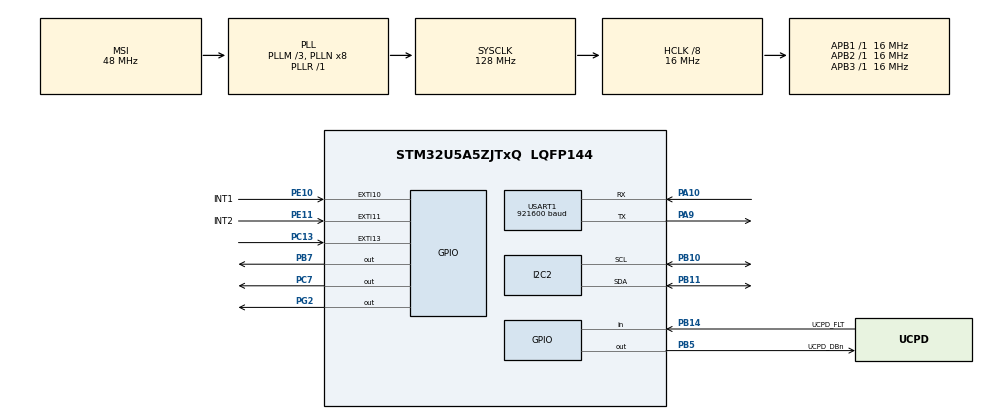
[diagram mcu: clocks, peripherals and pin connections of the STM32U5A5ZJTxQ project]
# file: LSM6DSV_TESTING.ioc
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CORTEX_M33_NS.userName=CORTEX_M33
GPDMA1.CIRCULARMODE_GPDMACH0=ENABLE
GPDMA1.DESTINC_GPDMACH0=DMA_DINC_INCREMENTED
GPDMA1.IPHANDLE_GPDMACH0-SIMPLEREQUEST_GPDMACH0=__NULL
GPDMA1.PRIORITY_LL_CIRCULAR_GPDMACH0=DMA_LOW_PRIORITY_MID_WEIGHT
GPDMA1.REQUEST_GPDMACH0=GPDMA1_REQUEST_USART1_RX
I2C2.Timing=0x00303D5B
Mcu.Family=STM32U5
Mcu.Name=STM32U5A5ZJTxQ
Mcu.Package=LQFP144
NUCLEO-U5A5ZJ-Q.BUTTON=1
NUCLEO-U5A5ZJ-Q.LD1=true
NUCLEO-U5A5ZJ-Q.LD2=true
NUCLEO-U5A5ZJ-Q.LD3=true
NUCLEO-U5A5ZJ-Q.VCP=false
NVIC.EXTI10_IRQn=true\:0\:0\:false\:false\:true\:true\:true\:true
NVIC.EXTI11_IRQn=true\:0\:0\:false\:false\:true\:true\:true\:true
NVIC.EXTI13_IRQn=true\:0\:0\:false\:false\:true\:false\:true\:true
NVIC.GPDMA1_Channel0_IRQn=true\:0\:0\:false\:false\:true\:true\:true\:true
NVIC.PriorityGroup=NVIC_PRIORITYGROUP_4
NVIC.TIM2_IRQn=true\:0\:0\:false\:false\:true\:true\:true\:true
NVIC.USART1_IRQn=true\:0\:0\:false\:false\:true\:true\:true\:true
PA10.Mode=Asynchronous
PA10.Signal=USART1_RX
PA11.Signal=USB_OTG_HS_DM
PA12.Signal=USB_OTG_HS_DP
PA13\ (JTMS/SWDIO).Mode=Trace_Asynchronous_SW
PA13\ (JTMS/SWDIO).Signal=DEBUG_JTMS-SWDIO
PA14\ (JTCK/SWCLK).Mode=Trace_Asynchronous_SW
PA14\ (JTCK/SWCLK).Signal=DEBUG_JTCK-SWCLK
PA15\ (JTDI).Signal=UCPD1_CC1
PA9.Mode=Asynchronous
PA9.Signal=USART1_TX
PB10.Mode=I2C
PB10.Signal=I2C2_SCL
PB11.Mode=I2C
PB11.Signal=I2C2_SDA
PB14.GPIO_Label=UCPD_FLT
PB14.Signal=GPIO_Input
PB15.Signal=UCPD1_CC2
PB3\ (JTDO/TRACESWO).Mode=Trace_Asynchronous_SW
PB3\ (JTDO/TRACESWO).Signal=DEBUG_JTDO-SWO
PB5.GPIO_Label=UCPD_DBn
PB5.Signal=GPIO_Output
PB7.Signal=GPIO_Output
PC13.Signal=GPXTI13
PC14-OSC32_IN\ (PC14).Mode=LSE-External-Oscillator
PC14-OSC32_IN\ (PC14).Signal=RCC_OSC32_IN
PC15-OSC32_OUT\ (PC15).Mode=LSE-External-Oscillator
PC15-OSC32_OUT\ (PC15).Signal=RCC_OSC32_OUT
PC2.GPIO_Label=VBUS_SENSE
PC2.Signal=ADC1_IN3
PC7.Signal=GPIO_Output
PE10.GPIO_Label=INT1
PE10.Signal=GPXTI10
PE11.GPIO_Label=INT2
PE11.Signal=GPXTI11
PG2.Signal=GPIO_Output
PWR.PowerMode=PWR_SMPS_SUPPLY
ProjectManager.HeapSize=0x200
ProjectManager.StackSize=0x400
ProjectManager.TargetToolchain=CMake
RCC.ADCFreq_Value=16000000
RCC.AHBCLKDivider=RCC_SYSCLK_DIV8
RCC.AHBFreq_Value=16000000
RCC.APB1Freq_Value=16000000
RCC.APB1TimFreq_Value=16000000
RCC.APB2Freq_Value=16000000
RCC.APB2TimFreq_Value=16000000
RCC.APB3Freq_Value=16000000
RCC.CortexFreq_Value=16000000
RCC.DACCLockSelectionVirtual=RCC_DAC1CLKSOURCE_LSI
RCC.EPOD_VALUE=48000000
RCC.HCLKFreq_Value=16000000
RCC.HSE_VALUE=8000000
RCC.HSI48_VALUE=48000000
RCC.HSI_VALUE=16000000
RCC.LSIDIV_VALUE=32000
RCC.MSIClockRange=RCC_MSIRANGE_0
RCC.MSI_VALUE=48000000
RCC.PLL1P=8
RCC.PLL1R=1
RCC.PLL2FRACN=0
RCC.PLL3FRACN=0
RCC.PLLFRACN=0
RCC.PLLM=3
RCC.PLLN=8
RCC.SYSCLKFreq_VALUE=128000000
RCC.SYSCLKSource=RCC_SYSCLKSOURCE_PLLCLK
RCC.VCOOutputFreq_Value=128000000
TIM2.AutoReloadPreload=TIM_AUTORELOAD_PRELOAD_ENABLE
TIM2.Period=0xFFFFFFFF
TIM2.Prescaler=16-1
USART1.BaudRate=921600
USART1.DMA_RX=GPDMA1_CH0
USART1.VirtualMode-Asynchronous=VM_ASYNC
VP_GPDMA1_VS_GPDMACH0.Mode=SIMPLEREQUEST_GPDMACH0
VP_ICACHE_VS_ICACHE.Mode=DirectMappedCache
VP_LPBAMQUEUE_VS_QUEUE.Mode=QUEUEMODE
VP_MEMORYMAP_VS_MEMORYMAP.Mode=CurAppReg
VP_NUCLEO-U5A5ZJ-Q_VS_BSP_COMMON.Mode=COMMON
VP_PWR_VS_DBSignals.Mode=DisableDeadBatterySignals
VP_PWR_VS_LPOM.Mode=PowerOptimisation
VP_PWR_VS_SECSignals.Mode=Security/Privilege
VP_TIM2_VS_ClockSourceINT.Mode=Internal
board=NUCLEO-U5A5ZJ-Q

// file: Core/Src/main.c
/* USER CODE BEGIN Header */
/**
  ******************************************************************************
  * @file           : main.c
  * @brief          : Main program body
  ******************************************************************************
  * @attention
  *
  * Copyright (c) 2025 STMicroelectronics.
  * All rights reserved.
  *
  * This software is licensed under terms that can be found in the LICENSE file
  * in the root directory of this software component.
  * If no LICENSE file comes with this software, it is provided AS-IS.
  *
  ******************************************************************************
  */
/* USER CODE END Header */
#include "main.h"

/* USER CODE BEGIN Includes */
#include <string.h>
#include <stdio.h>
#include "sensor_manager.h"
#include "comm_protocol.h"
#include "data_formatter.h"
/* USER CODE END Includes */

/* USER CODE BEGIN PD */

/* LSM6DSV I2C Addresses (7-bit, unshifted) */
#define LSM6DSV_I2C_ADDR_LOW  0x6A  // SDO/SA0 pin low (default)
#define LSM6DSV_I2C_ADDR_HIGH 0x6B  // SDO/SA0 pin high

/* Default I2C address - can be changed via command */
#define LSM6DSV_I2C_ADDR_DEFAULT  LSM6DSV_I2C_ADDR_HIGH

/* UART TX Buffer Size */
#define UART_TX_BUFFER_SIZE 256

/* USER CODE END PD */

I2C_HandleTypeDef hi2c2;

TIM_HandleTypeDef htim2;

UART_HandleTypeDef huart1;
DMA_NodeTypeDef Node_GPDMA1_Channel0;
DMA_QListTypeDef List_GPDMA1_Channel0;
DMA_HandleTypeDef handle_GPDMA1_Channel0;

/* USER CODE BEGIN PV */

/* Sensor Status */
static uint8_t sensor_initialized = 0;
static uint8_t streaming_enabled = 0;
static uint8_t current_i2c_address = LSM6DSV_I2C_ADDR_DEFAULT;

/* UART RX Circular Buffer for DMA */
#define UART_RX_BUFFER_SIZE 256
uint8_t uart_rx_buffer[UART_RX_BUFFER_SIZE];
volatile uint16_t uart_rx_write_pos = 0;  // DMA write position (updated by interrupt)
volatile uint16_t uart_rx_read_pos = 0;   // Our read position (updated by main loop)

/* New layer instances */
static sensor_manager_t sensor_mgr;
comm_protocol_t comm_ctx;

/* Cache for last valid sensor data (prevents zero readings when ODRs differ) */
static sensor_data_t last_valid_data = {0};
static bool first_valid_gyro = false;  // Track if we've received at least one valid gyro sample

/* USER CODE END PV */

void SystemClock_Config(void);
static void SystemPower_Config(void);
static void MX_GPDMA1_Init(void);
static void MX_GPIO_Init(void);
static void MX_TIM2_Init(void);
static void MX_USART1_UART_Init(void);
static void MX_ICACHE_Init(void);
static void MX_I2C2_Init(void);

int main(void)
{

  /* MCU Configuration--------------------------------------------------------*/

  /* Reset of all peripherals, Initializes the Flash interface and the Systick. */
  HAL_Init();

  /* Configure the System Power */
  SystemPower_Config();

  /* Configure the system clock */
  SystemClock_Config();

  /* Initialize all configured peripherals */
  MX_GPDMA1_Init();
  MX_GPIO_Init();
  MX_TIM2_Init();
  MX_USART1_UART_Init();
  MX_ICACHE_Init();
  MX_I2C2_Init();
  /* USER CODE BEGIN 2 */

  /* Start TIM2 for microsecond timestamps */
  HAL_TIM_Base_Start(&htim2);

  /* Initialize LEDs */
  BSP_LED_Init(LED_GREEN);
  BSP_LED_Init(LED_BLUE);
  BSP_LED_Init(LED_RED);

  /* Initialize USER push-button, will be used to trigger an interrupt each time it's pressed.*/
  BSP_PB_Init(BUTTON_USER, BUTTON_MODE_EXTI);

  /* Send startup banner to confirm UART is working */
  const char* banner = "\r\n=== LSM6DSV Firmware v2.0 ===\r\n"
                       "UART: OK (921600 baud)\r\n"
                       "Initializing sensor...\r\n";
  HAL_UART_Transmit(&huart1, (uint8_t*)banner, strlen(banner), 1000);

  /* Wait for sensor power-up */
  HAL_Delay(100);

  /* Scan I2C bus to see what devices are present */
  char scan_msg[128];
  int scan_len = snprintf(scan_msg, sizeof(scan_msg), "I2C Bus Scan:\r\n");
  HAL_UART_Transmit(&huart1, (uint8_t*)scan_msg, scan_len, 1000);

  for (uint8_t addr = 1; addr < 128; addr++) {
      if (HAL_I2C_IsDeviceReady(&hi2c2, addr << 1, 1, 10) == HAL_OK) {
          scan_len = snprintf(scan_msg, sizeof(scan_msg), "  Found device at 0x%02X\r\n", addr);
          HAL_UART_Transmit(&huart1, (uint8_t*)scan_msg, scan_len, 1000);
      }
  }
  HAL_UART_Transmit(&huart1, (uint8_t*)"I2C scan complete.\r\n\r\n", 21, 1000);

  /* Try both I2C addresses */
  uint8_t addresses[] = {LSM6DSV_I2C_ADDR_LOW, LSM6DSV_I2C_ADDR_HIGH};
  for (int i = 0; i < 2; i++) {
      current_i2c_address = addresses[i];

      /* Report which address we're trying */
      char probe_msg[128];
      int msg_len = snprintf(probe_msg, sizeof(probe_msg),
                             "Probing LSM6DSV at I2C address 0x%02X...\r\n",
                             current_i2c_address);
      HAL_UART_Transmit(&huart1, (uint8_t*)probe_msg, msg_len, 1000);

      /* Debug: Read WHO_AM_I register directly to see what's there */
      uint8_t whoami_test = 0;
      HAL_StatusTypeDef whoami_status;
      char whoami_msg[256];

      whoami_status = HAL_I2C_Mem_Read(&hi2c2, current_i2c_address << 1, 0x0F,
                                        I2C_MEMADD_SIZE_8BIT, &whoami_test, 1, 1000);

      uint32_t i2c_error = HAL_I2C_GetError(&hi2c2);
      int whoami_len = snprintf(whoami_msg, sizeof(whoami_msg),
                                "  WHO_AM_I(0x0F): HAL_status=%d, I2C_ErrorCode=0x%04lX, value=0x%02X\r\n"
                                "    (expect status=0, value=0x70 for LSM6DSV)\r\n",
                                whoami_status, i2c_error, whoami_test);
      HAL_UART_Transmit(&huart1, (uint8_t*)whoami_msg, whoami_len, 1000);

      /* Decode I2C error codes */
      if (i2c_error != HAL_I2C_ERROR_NONE) {
          char error_detail[256];
          int error_len = snprintf(error_detail, sizeof(error_detail),
                                    "    I2C Errors:%s%s%s%s%s\r\n",
                                    (i2c_error & HAL_I2C_ERROR_BERR) ? " BERR" : "",
                                    (i2c_error & HAL_I2C_ERROR_ARLO) ? " ARLO" : "",
                                    (i2c_error & HAL_I2C_ERROR_AF) ? " AF(NACK)" : "",
                                    (i2c_error & HAL_I2C_ERROR_OVR) ? " OVR" : "",
                                    (i2c_error & HAL_I2C_ERROR_TIMEOUT) ? " TIMEOUT" : "");
          HAL_UART_Transmit(&huart1, (uint8_t*)error_detail, error_len, 1000);
      }

      if (sensor_manager_init(&sensor_mgr, &hi2c2, current_i2c_address) == 0) {
          /* Success! */
          msg_len = snprintf(probe_msg, sizeof(probe_msg),
                            "  Result: SUCCESS - Sensor initialized\r\n"
                            "Starting data streaming...\r\n\r\n");
          HAL_UART_Transmit(&huart1, (uint8_t*)probe_msg, msg_len, 1000);

          BSP_LED_On(LED_GREEN);
          sensor_initialized = 1;
          streaming_enabled = 1;

          /* Initialize comm_protocol */
          comm_protocol_init(&comm_ctx, &huart1, &sensor_mgr);
          break;
      } else {
          /* Failed */
          HAL_UART_Transmit(&huart1, (uint8_t*)"  Result: FAILED - Init failed\r\n\r\n", 35, 1000);
      }
  }

  if (!sensor_initialized) {
      /* Send detailed error message */
      const char* error_msg = "\r\n*** ERROR: LSM6DSV sensor not found! ***\r\n"
                              "Possible causes:\r\n"
                              "  1. Sensor not connected to I2C2 (PB10=SCL, PB11=SDA)\r\n"
                              "  2. Wrong I2C address (check SDO/SA0 pin)\r\n"
                              "  3. Missing I2C pull-up resistors\r\n"
                              "  4. Sensor not powered (check VDD)\r\n"
                              "  5. I2C wiring issue\r\n\r\n"
                              "Expected addresses: 0x6A (SDO=GND) or 0x6B (SDO=VDD)\r\n"
                              "Check I2C scan results above.\r\n\r\n";
      HAL_UART_Transmit(&huart1, (uint8_t*)error_msg, strlen(error_msg), 1000);

      BSP_LED_On(LED_RED);
      streaming_enabled = 0;
  }

  /* Start UART RX via DMA with large circular buffer */
  HAL_UART_Receive_DMA(&huart1, uart_rx_buffer, UART_RX_BUFFER_SIZE);

  /* Enable UART IDLE line detection to update DMA write position */
  __HAL_UART_ENABLE_IT(&huart1, UART_IT_IDLE);

  /* USER CODE END 2 */

  /* Initialize leds */
  BSP_LED_Init(LED_GREEN);
  BSP_LED_Init(LED_BLUE);
  BSP_LED_Init(LED_RED);

  /* Initialize USER push-button, will be used to trigger an interrupt each time it's pressed.*/
  BSP_PB_Init(BUTTON_USER, BUTTON_MODE_EXTI);

  /* Infinite loop */
  /* USER CODE BEGIN WHILE */
  while (1)
  {
    /* Process UART RX circular buffer - feed bytes to protocol parser */
    while (uart_rx_read_pos != uart_rx_write_pos) {
        uint8_t byte = uart_rx_buffer[uart_rx_read_pos];
        uart_rx_read_pos = (uart_rx_read_pos + 1) % UART_RX_BUFFER_SIZE;

        /* Feed byte to protocol parser */
        comm_protocol_rx_callback(&comm_ctx, byte);
    }

    /* Process any complete commands */
    comm_protocol_process(&comm_ctx);

    /* Debug: Report command counter when it changes */
    static uint32_t last_cmd_count = 0;
    if (comm_ctx.commands_received != last_cmd_count) {
        last_cmd_count = comm_ctx.commands_received;
        char debug[64];
        int debug_len = snprintf(debug, sizeof(debug), "DEBUG: CMD_COUNT=%lu\r\n", comm_ctx.commands_received);
        HAL_UART_Transmit(&huart1, (uint8_t*)debug, debug_len, 10);
    }

    /* Stream sensor data if enabled */
    if (sensor_initialized && streaming_enabled) {
        sensor_data_t data;

        /* Read sensor data (v3.1: always succeeds, check validity flags) */
        sensor_manager_read_data(&sensor_mgr, &data);

        /* Update cache when sensors have new valid data (v3.2: prevents zero gyro readings)
         * Strategy: Cache last valid readings from both sensors, only transmit when
         * we have complete data. This handles different ODR configurations correctly.
         * Example: If accel=240Hz and gyro=120Hz, gyro data repeats until next update. */

        /* Update accelerometer cache */
        if (data.acc_valid == SENSOR_STATUS_VALID) {
            last_valid_data.acc_x = data.acc_x;
            last_valid_data.acc_y = data.acc_y;
            last_valid_data.acc_z = data.acc_z;
            last_valid_data.acc_valid = SENSOR_STATUS_VALID;
            last_valid_data.timestamp = data.timestamp;  // Use latest timestamp
        }

        /* Update gyroscope cache */
        if (data.gyro_valid == SENSOR_STATUS_VALID) {
            last_valid_data.gyro_x = data.gyro_x;
            last_valid_data.gyro_y = data.gyro_y;
            last_valid_data.gyro_z = data.gyro_z;
            last_valid_data.gyro_valid = SENSOR_STATUS_VALID;
            first_valid_gyro = true;  // Mark that we've seen at least one valid gyro sample
        }

        /* Transmit only if both sensors have valid data in cache
         * - Requires both sensors to have been valid at least once
         * - Prevents zero gyro readings when accel ODR > gyro ODR
         * - Gyro data repeats at accel rate until next gyro update (standard decimation) */
        bool has_complete_data = first_valid_gyro &&
                                 (last_valid_data.acc_valid == SENSOR_STATUS_VALID) &&
                                 (last_valid_data.gyro_valid == SENSOR_STATUS_VALID);

        if (has_complete_data) {
            /* Format as CSV using cached complete data */
            char buffer[256];
            int len = data_formatter_csv_data(buffer, sizeof(buffer), &last_valid_data, NULL, NULL);

            if (len > 0) {
                HAL_UART_Transmit(&huart1, (uint8_t*)buffer, len, 10);
            }

            /* Read SFLP if enabled */
            if (sensor_mgr.config.sflp_game_en) {
                sflp_data_t sflp;
                if (sensor_manager_read_sflp(&sensor_mgr, &sflp) == 0) {
                    len = data_formatter_csv_sflp(buffer, sizeof(buffer), &sflp, last_valid_data.timestamp);
                    if (len > 0) {
                        HAL_UART_Transmit(&huart1, (uint8_t*)buffer, len, 10);
                    }
                }
            }
        }
        /* If no complete data yet (waiting for first gyro sample), drop this sample silently */
    }

    /* USER CODE END WHILE */

    /* USER CODE BEGIN 3 */

    /* Small delay to prevent excessive polling and allow sensor data to be ready
     * At 120Hz ODR, new data available every ~8.3ms
     * 1ms delay gives good responsiveness while preventing CPU thrashing */
    HAL_Delay(1);
  }
  /* USER CODE END 3 */
}

void SystemClock_Config(void)
{
  RCC_OscInitTypeDef RCC_OscInitStruct = {0};
  RCC_ClkInitTypeDef RCC_ClkInitStruct = {0};

  /** Configure the main internal regulator output voltage
  */
  if (HAL_PWREx_ControlVoltageScaling(PWR_REGULATOR_VOLTAGE_SCALE1) != HAL_OK)
  {
    Error_Handler();
  }

  /** Initializes the CPU, AHB and APB buses clocks
  */
  RCC_OscInitStruct.OscillatorType = RCC_OSCILLATORTYPE_MSI;
  RCC_OscInitStruct.MSIState = RCC_MSI_ON;
  RCC_OscInitStruct.MSICalibrationValue = RCC_MSICALIBRATION_DEFAULT;
  RCC_OscInitStruct.MSIClockRange = RCC_MSIRANGE_0;
  RCC_OscInitStruct.PLL.PLLState = RCC_PLL_ON;
  RCC_OscInitStruct.PLL.PLLSource = RCC_PLLSOURCE_MSI;
  RCC_OscInitStruct.PLL.PLLMBOOST = RCC_PLLMBOOST_DIV4;
  RCC_OscInitStruct.PLL.PLLM = 3;
  RCC_OscInitStruct.PLL.PLLN = 8;
  RCC_OscInitStruct.PLL.PLLP = 8;
  RCC_OscInitStruct.PLL.PLLQ = 2;
  RCC_OscInitStruct.PLL.PLLR = 1;
  RCC_OscInitStruct.PLL.PLLRGE = RCC_PLLVCIRANGE_1;
  RCC_OscInitStruct.PLL.PLLFRACN = 0;
  if (HAL_RCC_OscConfig(&RCC_OscInitStruct) != HAL_OK)
  {
    Error_Handler();
  }

  /** Initializes the CPU, AHB and APB buses clocks
  */
  RCC_ClkInitStruct.ClockType = RCC_CLOCKTYPE_HCLK|RCC_CLOCKTYPE_SYSCLK
                              |RCC_CLOCKTYPE_PCLK1|RCC_CLOCKTYPE_PCLK2
                              |RCC_CLOCKTYPE_PCLK3;
  RCC_ClkInitStruct.SYSCLKSource = RCC_SYSCLKSOURCE_PLLCLK;
  RCC_ClkInitStruct.AHBCLKDivider = RCC_SYSCLK_DIV8;
  RCC_ClkInitStruct.APB1CLKDivider = RCC_HCLK_DIV1;
  RCC_ClkInitStruct.APB2CLKDivider = RCC_HCLK_DIV1;
  RCC_ClkInitStruct.APB3CLKDivider = RCC_HCLK_DIV1;

  if (HAL_RCC_ClockConfig(&RCC_ClkInitStruct, FLASH_LATENCY_0) != HAL_OK)
  {
    Error_Handler();
  }
}

/**
  * @brief Power Configuration
  * @retval None
  */
static void SystemPower_Config(void)
{

  /*
   * Disable the internal Pull-Up in Dead Battery pins of UCPD peripheral
   */
  HAL_PWREx_DisableUCPDDeadBattery();

  /*
   * Switch to SMPS regulator instead of LDO
   */
  if (HAL_PWREx_ConfigSupply(PWR_SMPS_SUPPLY) != HAL_OK)
  {
    Error_Handler();
  }
}

static void MX_GPDMA1_Init(void)
{

  /* Peripheral clock enable */
  __HAL_RCC_GPDMA1_CLK_ENABLE();

  /* GPDMA1 interrupt Init */
    HAL_NVIC_SetPriority(GPDMA1_Channel0_IRQn, 0, 0);
    HAL_NVIC_EnableIRQ(GPDMA1_Channel0_IRQn);

}

static void MX_I2C2_Init(void)
{

  hi2c2.Instance = I2C2;
  hi2c2.Init.Timing = 0x00303D5B;
  hi2c2.Init.OwnAddress1 = 0;
  hi2c2.Init.AddressingMode = I2C_ADDRESSINGMODE_7BIT;
  hi2c2.Init.DualAddressMode = I2C_DUALADDRESS_DISABLE;
  hi2c2.Init.OwnAddress2 = 0;
  hi2c2.Init.OwnAddress2Masks = I2C_OA2_NOMASK;
  hi2c2.Init.GeneralCallMode = I2C_GENERALCALL_DISABLE;
  hi2c2.Init.NoStretchMode = I2C_NOSTRETCH_DISABLE;
  if (HAL_I2C_Init(&hi2c2) != HAL_OK)
  {
    Error_Handler();
  }

  /** Configure Analogue filter
  */
  if (HAL_I2CEx_ConfigAnalogFilter(&hi2c2, I2C_ANALOGFILTER_ENABLE) != HAL_OK)
  {
    Error_Handler();
  }

  /** Configure Digital filter
  */
  if (HAL_I2CEx_ConfigDigitalFilter(&hi2c2, 0) != HAL_OK)
  {
    Error_Handler();
  }

}

static void MX_ICACHE_Init(void)
{

  /** Enable instruction cache in 1-way (direct mapped cache)
  */
  if (HAL_ICACHE_ConfigAssociativityMode(ICACHE_1WAY) != HAL_OK)
  {
    Error_Handler();
  }
  if (HAL_ICACHE_Enable() != HAL_OK)
  {
    Error_Handler();
  }

}

static void MX_TIM2_Init(void)
{

  TIM_ClockConfigTypeDef sClockSourceConfig = {0};
  TIM_MasterConfigTypeDef sMasterConfig = {0};

  htim2.Instance = TIM2;
  htim2.Init.Prescaler = 16-1;
  htim2.Init.CounterMode = TIM_COUNTERMODE_UP;
  htim2.Init.Period = 0xFFFFFFFF;
  htim2.Init.ClockDivision = TIM_CLOCKDIVISION_DIV1;
  htim2.Init.AutoReloadPreload = TIM_AUTORELOAD_PRELOAD_ENABLE;
  if (HAL_TIM_Base_Init(&htim2) != HAL_OK)
  {
    Error_Handler();
  }
  sClockSourceConfig.ClockSource = TIM_CLOCKSOURCE_INTERNAL;
  if (HAL_TIM_ConfigClockSource(&htim2, &sClockSourceConfig) != HAL_OK)
  {
    Error_Handler();
  }
  sMasterConfig.MasterOutputTrigger = TIM_TRGO_RESET;
  sMasterConfig.MasterSlaveMode = TIM_MASTERSLAVEMODE_DISABLE;
  if (HAL_TIMEx_MasterConfigSynchronization(&htim2, &sMasterConfig) != HAL_OK)
  {
    Error_Handler();
  }

}

static void MX_USART1_UART_Init(void)
{

  huart1.Instance = USART1;
  huart1.Init.BaudRate = 921600;
  huart1.Init.WordLength = UART_WORDLENGTH_8B;
  huart1.Init.StopBits = UART_STOPBITS_1;
  huart1.Init.Parity = UART_PARITY_NONE;
  huart1.Init.Mode = UART_MODE_TX_RX;
  huart1.Init.HwFlowCtl = UART_HWCONTROL_NONE;
  huart1.Init.OverSampling = UART_OVERSAMPLING_16;
  huart1.Init.OneBitSampling = UART_ONE_BIT_SAMPLE_DISABLE;
  huart1.Init.ClockPrescaler = UART_PRESCALER_DIV1;
  huart1.AdvancedInit.AdvFeatureInit = UART_ADVFEATURE_NO_INIT;
  if (HAL_UART_Init(&huart1) != HAL_OK)
  {
    Error_Handler();
  }
  if (HAL_UARTEx_SetTxFifoThreshold(&huart1, UART_TXFIFO_THRESHOLD_1_8) != HAL_OK)
  {
    Error_Handler();
  }
  if (HAL_UARTEx_SetRxFifoThreshold(&huart1, UART_RXFIFO_THRESHOLD_1_8) != HAL_OK)
  {
    Error_Handler();
  }
  if (HAL_UARTEx_DisableFifoMode(&huart1) != HAL_OK)
  {
    Error_Handler();
  }

}

static void MX_GPIO_Init(void)
{
  GPIO_InitTypeDef GPIO_InitStruct = {0};

  /* GPIO Ports Clock Enable */
  __HAL_RCC_GPIOC_CLK_ENABLE();
  __HAL_RCC_GPIOE_CLK_ENABLE();
  __HAL_RCC_GPIOB_CLK_ENABLE();
  __HAL_RCC_GPIOA_CLK_ENABLE();

  /*Configure GPIO pin Output Level */
  HAL_GPIO_WritePin(UCPD_DBn_GPIO_Port, UCPD_DBn_Pin, GPIO_PIN_RESET);

  /*Configure GPIO pin : VBUS_SENSE_Pin */
  GPIO_InitStruct.Pin = VBUS_SENSE_Pin;
  GPIO_InitStruct.Mode = GPIO_MODE_ANALOG;
  GPIO_InitStruct.Pull = GPIO_NOPULL;
  HAL_GPIO_Init(VBUS_SENSE_GPIO_Port, &GPIO_InitStruct);

  /*Configure GPIO pins : INT1_Pin INT2_Pin */
  GPIO_InitStruct.Pin = INT1_Pin|INT2_Pin;
  GPIO_InitStruct.Mode = GPIO_MODE_IT_RISING;
  GPIO_InitStruct.Pull = GPIO_NOPULL;
  HAL_GPIO_Init(GPIOE, &GPIO_InitStruct);

  /*Configure GPIO pin : UCPD_FLT_Pin */
  GPIO_InitStruct.Pin = UCPD_FLT_Pin;
  GPIO_InitStruct.Mode = GPIO_MODE_INPUT;
  GPIO_InitStruct.Pull = GPIO_NOPULL;
  HAL_GPIO_Init(UCPD_FLT_GPIO_Port, &GPIO_InitStruct);

  /*Configure GPIO pin : PB15 */
  GPIO_InitStruct.Pin = GPIO_PIN_15;
  GPIO_InitStruct.Mode = GPIO_MODE_ANALOG;
  GPIO_InitStruct.Pull = GPIO_NOPULL;
  HAL_GPIO_Init(GPIOB, &GPIO_InitStruct);

  /*Configure GPIO pins : PA11 PA12 */
  GPIO_InitStruct.Pin = GPIO_PIN_11|GPIO_PIN_12;
  GPIO_InitStruct.Mode = GPIO_MODE_AF_PP;
  GPIO_InitStruct.Pull = GPIO_NOPULL;
  GPIO_InitStruct.Speed = GPIO_SPEED_FREQ_LOW;
  HAL_GPIO_Init(GPIOA, &GPIO_InitStruct);

  /*Configure GPIO pin : PA15 */
  GPIO_InitStruct.Pin = GPIO_PIN_15;
  GPIO_InitStruct.Mode = GPIO_MODE_ANALOG;
  GPIO_InitStruct.Pull = GPIO_NOPULL;
  HAL_GPIO_Init(GPIOA, &GPIO_InitStruct);

  /*Configure GPIO pin : UCPD_DBn_Pin */
  GPIO_InitStruct.Pin = UCPD_DBn_Pin;
  GPIO_InitStruct.Mode = GPIO_MODE_OUTPUT_PP;
  GPIO_InitStruct.Pull = GPIO_NOPULL;
  GPIO_InitStruct.Speed = GPIO_SPEED_FREQ_LOW;
  HAL_GPIO_Init(UCPD_DBn_GPIO_Port, &GPIO_InitStruct);

  /* EXTI interrupt init*/
  HAL_NVIC_SetPriority(EXTI10_IRQn, 0, 0);
  HAL_NVIC_EnableIRQ(EXTI10_IRQn);

  HAL_NVIC_SetPriority(EXTI11_IRQn, 0, 0);
  HAL_NVIC_EnableIRQ(EXTI11_IRQn);

}

void Error_Handler(void)
{
  __disable_irq();
  while (1)
  {
  }
}
